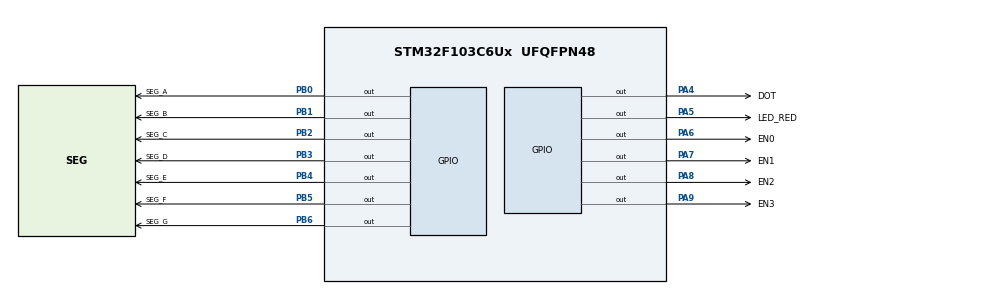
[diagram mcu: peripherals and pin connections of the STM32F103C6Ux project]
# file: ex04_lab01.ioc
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Mcu.Family=STM32F1
Mcu.Name=STM32F103C6Ux
Mcu.Package=UFQFPN48
NVIC.PriorityGroup=NVIC_PRIORITYGROUP_4
NVIC.TIM2_IRQn=true\:0\:0\:false\:false\:true\:true\:true\:true
PA13.Mode=Serial_Wire
PA13.Signal=SYS_JTMS-SWDIO
PA14.Mode=Serial_Wire
PA14.Signal=SYS_JTCK-SWCLK
PA4.GPIO_Label=DOT
PA4.PinState=GPIO_PIN_SET
PA4.Signal=GPIO_Output
PA5.GPIO_Label=LED_RED
PA5.PinState=GPIO_PIN_SET
PA5.Signal=GPIO_Output
PA6.GPIO_Label=EN0
PA6.GPIO_Speed=GPIO_SPEED_FREQ_LOW
PA6.PinState=GPIO_PIN_SET
PA6.Signal=GPIO_Output
PA7.GPIO_Label=EN1
PA7.PinState=GPIO_PIN_SET
PA7.Signal=GPIO_Output
PA8.GPIO_Label=EN2
PA8.PinState=GPIO_PIN_SET
PA8.Signal=GPIO_Output
PA9.GPIO_Label=EN3
PA9.PinState=GPIO_PIN_SET
PA9.Signal=GPIO_Output
PB0.GPIO_Label=SEG_A
PB0.PinState=GPIO_PIN_SET
PB0.Signal=GPIO_Output
PB1.GPIO_Label=SEG_B
PB1.PinState=GPIO_PIN_SET
PB1.Signal=GPIO_Output
PB2.GPIO_Label=SEG_C
PB2.PinState=GPIO_PIN_SET
PB2.Signal=GPIO_Output
PB3.GPIO_Label=SEG_D
PB3.PinState=GPIO_PIN_SET
PB3.Signal=GPIO_Output
PB4.GPIO_Label=SEG_E
PB4.PinState=GPIO_PIN_SET
PB4.Signal=GPIO_Output
PB5.GPIO_Label=SEG_F
PB5.PinState=GPIO_PIN_SET
PB5.Signal=GPIO_Output
PB6.GPIO_Label=SEG_G
PB6.PinState=GPIO_PIN_SET
PB6.Signal=GPIO_Output
ProjectManager.HeapSize=0x200
ProjectManager.StackSize=0x400
ProjectManager.TargetToolchain=CMake
RCC.APB1Freq_Value=8000000
RCC.APB2Freq_Value=8000000
TIM2.Period=9
TIM2.Prescaler=7999
VP_TIM2_VS_ClockSourceINT.Mode=Internal
board=custom

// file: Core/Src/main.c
/* USER CODE BEGIN Header */
/**
  ******************************************************************************
  * @file           : main.c
  * @brief          : Main program body
  ******************************************************************************
  * @attention
  *
  * Copyright (c) 2026 STMicroelectronics.
  * All rights reserved.
  *
  * This software is licensed under terms that can be found in the LICENSE file
  * in the root directory of this software component.
  * If no LICENSE file comes with this software, it is provided AS-IS.
  *
  ******************************************************************************
  */
/* USER CODE END Header */
#include "main.h"

TIM_HandleTypeDef htim2;

/* USER CODE BEGIN PV */
const int MAX_LED = 4;
int index_led = 0;
volatile int led_buffer[4] = {0, 0, 0, 0};

int hour = 15;
int minute = 8;
int second = 50;

volatile int timer0_counter = 0;
volatile int timer0_flag = 0;
const int TIMER_CYCLE = 10;       /* TIM2 period: 10 ms */
volatile int timer1_counter = 0;
volatile int timer1_flag = 0;

/* USER CODE END PV */

void SystemClock_Config(void);
static void MX_GPIO_Init(void);
static void MX_TIM2_Init(void);
/* USER CODE BEGIN PFP */
void display7SEG(int num);
void update7SEG(int index);
void updateClockBuffer(void);
/* USER CODE END PFP */

/* USER CODE BEGIN 0 */

void setTimer0(int duration)
{
    timer0_counter = duration / TIMER_CYCLE;
    timer0_flag = 0;
}

void setTimer1(int duration)
{
    timer1_counter = duration / TIMER_CYCLE;
    timer1_flag = 0;
}

void timer_run(void)
{
    if (timer0_counter > 0)
    {
        timer0_counter--;

        if (timer0_counter == 0)
        {
            timer0_flag = 1;
        }
    }

    if (timer1_counter > 0)
    {
        timer1_counter--;

        if (timer1_counter == 0)
        {
            timer1_flag = 1;
        }
    }
}

/* Put a number from 0 to 9 on the shared PB0-PB6 segment lines */
void display7SEG(int num){
    const uint16_t all_segments =
        GPIO_PIN_0 | GPIO_PIN_1 | GPIO_PIN_2 | GPIO_PIN_3 |
        GPIO_PIN_4 | GPIO_PIN_5 | GPIO_PIN_6;

    uint16_t segments_on = 0;

    switch (num)
    {
        case 0: /* a b c d e f */
            segments_on = GPIO_PIN_0 | GPIO_PIN_1 | GPIO_PIN_2 |
                          GPIO_PIN_3 | GPIO_PIN_4 | GPIO_PIN_5;
            break;

        case 1: /* b c */
            segments_on = GPIO_PIN_1 | GPIO_PIN_2;
            break;

        case 2: /* a b d e g */
            segments_on = GPIO_PIN_0 | GPIO_PIN_1 | GPIO_PIN_3 |
                          GPIO_PIN_4 | GPIO_PIN_6;
            break;

        case 3: /* a b c d g */
            segments_on = GPIO_PIN_0 | GPIO_PIN_1 | GPIO_PIN_2 |
                          GPIO_PIN_3 | GPIO_PIN_6;
            break;

        case 4: /* b c f g */
            segments_on = GPIO_PIN_1 | GPIO_PIN_2 |
                          GPIO_PIN_5 | GPIO_PIN_6;
            break;

        case 5: /* a c d f g */
            segments_on = GPIO_PIN_0 | GPIO_PIN_2 | GPIO_PIN_3 |
                          GPIO_PIN_5 | GPIO_PIN_6;
            break;

        case 6: /* a c d e f g */
            segments_on = GPIO_PIN_0 | GPIO_PIN_2 | GPIO_PIN_3 |
                          GPIO_PIN_4 | GPIO_PIN_5 | GPIO_PIN_6;
            break;

        case 7: /* a b c */
            segments_on = GPIO_PIN_0 | GPIO_PIN_1 | GPIO_PIN_2;
            break;

        case 8: /* a b c d e f g */
            segments_on = all_segments;
            break;

        case 9: /* a b c d f g */
            segments_on = GPIO_PIN_0 | GPIO_PIN_1 | GPIO_PIN_2 |
                          GPIO_PIN_3 | GPIO_PIN_5 | GPIO_PIN_6;
            break;

        default:
            break; /* Unsupported number: leave all segments off */
    }

    /* Common anode: HIGH = segment off, LOW = segment on */
    HAL_GPIO_WritePin(GPIOB, all_segments, GPIO_PIN_SET);

    if (segments_on != 0)
    {
        HAL_GPIO_WritePin(GPIOB, segments_on, GPIO_PIN_RESET);
    }
  }

/* Select display index 0, 1, 2, or 3 */
void update7SEG(int index){
    if (index < 0 || index >= MAX_LED)
    {
        return;
    }

    /* Disable every display before changing the shared segments */
    HAL_GPIO_WritePin(
        GPIOA,
        GPIO_PIN_6 | GPIO_PIN_7 | GPIO_PIN_8 | GPIO_PIN_9,
        GPIO_PIN_SET
    );

    switch (index)
    {
        case 0:
            display7SEG(led_buffer[0]);
            HAL_GPIO_WritePin(GPIOA, GPIO_PIN_6, GPIO_PIN_RESET);
            break;

        case 1:
            display7SEG(led_buffer[1]);
            HAL_GPIO_WritePin(GPIOA, GPIO_PIN_7, GPIO_PIN_RESET);
            break;

        case 2:
            display7SEG(led_buffer[2]);
            HAL_GPIO_WritePin(GPIOA, GPIO_PIN_8, GPIO_PIN_RESET);
            break;

        case 3:
            display7SEG(led_buffer[3]);
            HAL_GPIO_WritePin(GPIOA, GPIO_PIN_9, GPIO_PIN_RESET);
            break;

        default:
            break;
    }
  }

void updateClockBuffer(void){
    led_buffer[0] = hour / 10;    /* Hour tens */
    led_buffer[1] = hour % 10;    /* Hour ones */
    led_buffer[2] = minute / 10;  /* Minute tens */
    led_buffer[3] = minute % 10;  /* Minute ones */
}

/* USER CODE END 0 */

int main(void)
{

  /* MCU Configuration--------------------------------------------------------*/

  /* Reset of all peripherals, Initializes the Flash interface and the Systick. */
  HAL_Init();

  /* Configure the system clock */
  SystemClock_Config();

  /* Initialize all configured peripherals */
  MX_GPIO_Init();
  MX_TIM2_Init();
  /* USER CODE BEGIN 2 */
  HAL_GPIO_WritePin(
    GPIOA, GPIO_PIN_4 | GPIO_PIN_5, GPIO_PIN_SET
  );                          /* DOT and red LED initially off */

  updateClockBuffer();
  update7SEG(index_led);       /* Select the first clock digit */

  setTimer0(1000);             /* First PA5 toggle after 1 second */
  setTimer1(1000);             /* First clock update after 1 second */

  HAL_TIM_Base_Start_IT(&htim2);
  /* USER CODE END 2 */

  /* Infinite loop */
  while (1) {

    /* USER CODE BEGIN 3 */
    if (timer0_flag == 1) {
      /* Clear the flag and schedule the next second. */
      setTimer0(1000);

      second++;

      if (second >= 60) {
        second = 0;
        minute++;
      }

      if (minute >= 60) {
        minute = 0;
        hour++;
      }

      if (hour >= 24) {
        hour = 0;
      }

      updateClockBuffer();
      HAL_GPIO_TogglePin(GPIOA, GPIO_PIN_4);
    }
  } /* Closes while (1). */
  /* USER CODE END 3 */
} /* Closes main(). */

void SystemClock_Config(void)
{
  RCC_OscInitTypeDef RCC_OscInitStruct = {0};
  RCC_ClkInitTypeDef RCC_ClkInitStruct = {0};

  /** Initializes the RCC Oscillators according to the specified parameters
  * in the RCC_OscInitTypeDef structure.
  */
  RCC_OscInitStruct.OscillatorType = RCC_OSCILLATORTYPE_HSI;
  RCC_OscInitStruct.HSIState = RCC_HSI_ON;
  RCC_OscInitStruct.HSICalibrationValue = RCC_HSICALIBRATION_DEFAULT;
  RCC_OscInitStruct.PLL.PLLState = RCC_PLL_NONE;
  if (HAL_RCC_OscConfig(&RCC_OscInitStruct) != HAL_OK)
  {
    Error_Handler();
  }

  /** Initializes the CPU, AHB and APB buses clocks
  */
  RCC_ClkInitStruct.ClockType = RCC_CLOCKTYPE_HCLK|RCC_CLOCKTYPE_SYSCLK
                              |RCC_CLOCKTYPE_PCLK1|RCC_CLOCKTYPE_PCLK2;
  RCC_ClkInitStruct.SYSCLKSource = RCC_SYSCLKSOURCE_HSI;
  RCC_ClkInitStruct.AHBCLKDivider = RCC_SYSCLK_DIV1;
  RCC_ClkInitStruct.APB1CLKDivider = RCC_HCLK_DIV1;
  RCC_ClkInitStruct.APB2CLKDivider = RCC_HCLK_DIV1;

  if (HAL_RCC_ClockConfig(&RCC_ClkInitStruct, FLASH_LATENCY_0) != HAL_OK)
  {
    Error_Handler();
  }
}

static void MX_TIM2_Init(void)
{

  TIM_ClockConfigTypeDef sClockSourceConfig = {0};
  TIM_MasterConfigTypeDef sMasterConfig = {0};

  htim2.Instance = TIM2;
  htim2.Init.Prescaler = 7999;
  htim2.Init.CounterMode = TIM_COUNTERMODE_UP;
  htim2.Init.Period = 9;
  htim2.Init.ClockDivision = TIM_CLOCKDIVISION_DIV1;
  htim2.Init.AutoReloadPreload = TIM_AUTORELOAD_PRELOAD_DISABLE;
  if (HAL_TIM_Base_Init(&htim2) != HAL_OK)
  {
    Error_Handler();
  }
  sClockSourceConfig.ClockSource = TIM_CLOCKSOURCE_INTERNAL;
  if (HAL_TIM_ConfigClockSource(&htim2, &sClockSourceConfig) != HAL_OK)
  {
    Error_Handler();
  }
  sMasterConfig.MasterOutputTrigger = TIM_TRGO_RESET;
  sMasterConfig.MasterSlaveMode = TIM_MASTERSLAVEMODE_DISABLE;
  if (HAL_TIMEx_MasterConfigSynchronization(&htim2, &sMasterConfig) != HAL_OK)
  {
    Error_Handler();
  }

}

static void MX_GPIO_Init(void)
{
  GPIO_InitTypeDef GPIO_InitStruct = {0};

  /* GPIO Ports Clock Enable */
  __HAL_RCC_GPIOA_CLK_ENABLE();
  __HAL_RCC_GPIOB_CLK_ENABLE();

  /*Configure GPIO pin Output Level */
  HAL_GPIO_WritePin(GPIOA, DOT_Pin|LED_RED_Pin|EN0_Pin|EN1_Pin
                          |EN2_Pin|EN3_Pin, GPIO_PIN_SET);

  /*Configure GPIO pin Output Level */
  HAL_GPIO_WritePin(GPIOB, SEG_A_Pin|SEG_B_Pin|SEG_C_Pin|SEG_D_Pin
                          |SEG_E_Pin|SEG_F_Pin|SEG_G_Pin, GPIO_PIN_SET);

  /*Configure GPIO pins : DOT_Pin LED_RED_Pin EN0_Pin EN1_Pin
                           EN2_Pin EN3_Pin */
  GPIO_InitStruct.Pin = DOT_Pin|LED_RED_Pin|EN0_Pin|EN1_Pin
                          |EN2_Pin|EN3_Pin;
  GPIO_InitStruct.Mode = GPIO_MODE_OUTPUT_PP;
  GPIO_InitStruct.Pull = GPIO_NOPULL;
  GPIO_InitStruct.Speed = GPIO_SPEED_FREQ_LOW;
  HAL_GPIO_Init(GPIOA, &GPIO_InitStruct);

  /*Configure GPIO pins : SEG_A_Pin SEG_B_Pin SEG_C_Pin SEG_D_Pin
                           SEG_E_Pin SEG_F_Pin SEG_G_Pin */
  GPIO_InitStruct.Pin = SEG_A_Pin|SEG_B_Pin|SEG_C_Pin|SEG_D_Pin
                          |SEG_E_Pin|SEG_F_Pin|SEG_G_Pin;
  GPIO_InitStruct.Mode = GPIO_MODE_OUTPUT_PP;
  GPIO_InitStruct.Pull = GPIO_NOPULL;
  GPIO_InitStruct.Speed = GPIO_SPEED_FREQ_LOW;
  HAL_GPIO_Init(GPIOB, &GPIO_InitStruct);

}

/* USER CODE BEGIN 4 */
void HAL_TIM_PeriodElapsedCallback(TIM_HandleTypeDef *htim)
{
    if (htim->Instance == TIM2)
    {
        static uint8_t scan_ticks = 0;

        timer_run();    /* Count down timer0 and timer1 every 10 ms */

        scan_ticks++;
        if (scan_ticks >= 25)
        {
            scan_ticks = 0;

            index_led++;
            if (index_led >= MAX_LED)
            {
                index_led = 0;
            }

            update7SEG(index_led);
        }
    }
}
/* USER CODE END 4 */

void Error_Handler(void)
{
  __disable_irq();
  while (1)
  {
  }
}
